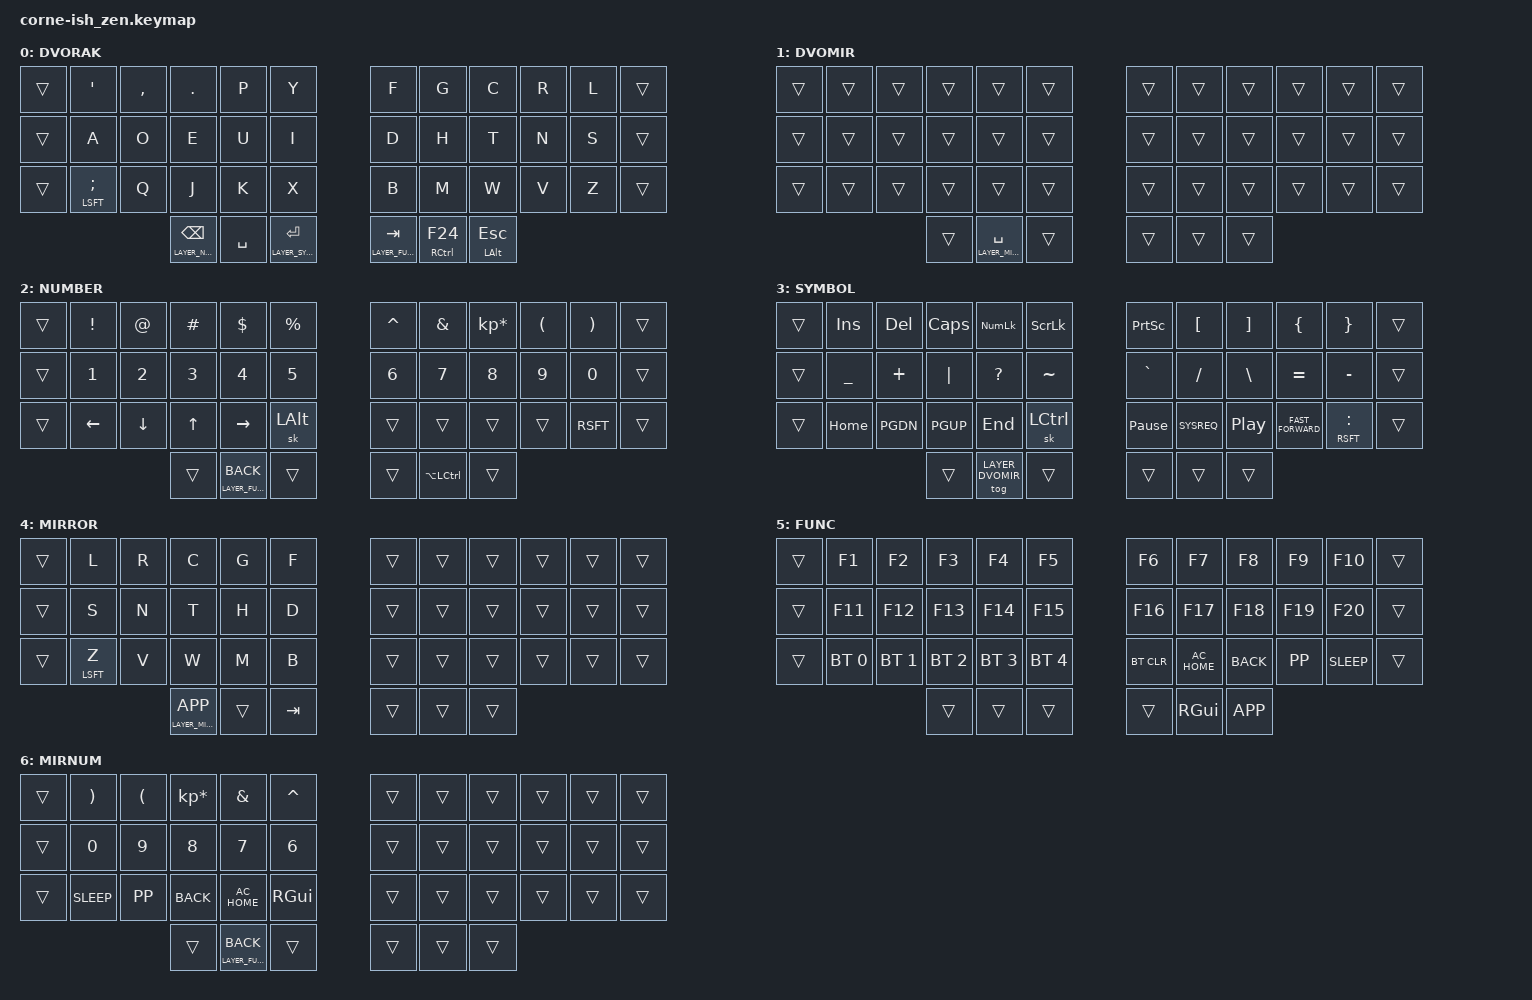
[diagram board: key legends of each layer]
/*
*
* Copyright (c) 2021 Darryl deHaan
* SPDX-License-Identifier: MIT
*
*/

#include <behaviors.dtsi>
#include <dt-bindings/zmk/keys.h>
#include <dt-bindings/zmk/bt.h>

#define LAYER_DVORAK 0
#define LAYER_DVOMIR 1
#define LAYER_NUMBER 2
#define LAYER_SYMBOL 3
#define LAYER_MIRROR 4
#define LAYER_FUNC   5
#define LAYER_MIRNUM 6


/ {
        keymap {
                compatible = "zmk,keymap";

                default_layer { // 0
                        label = "DVORAK";
bindings = <
   &trans &kp SQT       &kp COMMA &kp DOT &kp P &kp Y   &kp F &kp G  &kp C     &kp R   &kp L      &trans
   &trans &kp A         &kp O     &kp E   &kp U &kp I   &kp D &kp H  &kp T     &kp N   &kp S      &trans
   &trans &mt LSFT SEMI &kp Q     &kp J   &kp K &kp X   &kp B &kp M  &kp W     &kp V   &kp Z      &trans
   &lt LAYER_NUMBER BKSP &kp SPACE &lt LAYER_SYMBOL RET   &lt LAYER_FUNC TAB &mt RCTL F24 &mt LALT ESC
                        >;
                };
                dvomir_layer { // 1
                        label = "DVOMIR";
                        bindings = <
&trans &trans   &trans   &trans    &trans    &trans      &trans &trans   &trans   &trans    &trans    &trans 
&trans &trans   &trans   &trans    &trans    &trans      &trans &trans   &trans   &trans    &trans    &trans 
&trans &trans   &trans   &trans    &trans    &trans      &trans &trans   &trans   &trans    &trans    &trans 
                      &trans &lt LAYER_MIRROR SPACE &trans      &trans &trans &trans 
                        >;
                };

                lower_layer { // 1
                        label = "NUMBER";
                        bindings = <
   &trans  &kp EXCL &kp AT   &kp HASH &kp DLLR  &kp PRCNT   &kp CARET &kp AMPS  &kp KP_MULTIPLY &kp LPAR &kp RPAR &trans
   &trans  &kp N1   &kp N2   &kp N3   &kp N4    &kp N5      &kp N6    &kp N7    &kp N8           &kp N9  &kp N0   &trans
   &trans  &kp LEFT &kp DOWN &kp UP   &kp RIGHT &sk LALT    &trans    &trans    &trans           &trans  &kp RSFT &trans   
                          	        &trans  &lt LAYER_FUNC K_BACK &trans       &trans   &kp LA(LCTL)   &trans
                        >;
                };

                raise_layer { // 3
                        label = "SYMBOL";
                        bindings = <
   &trans &kp INS   &kp DEL   &kp CAPSLOCK   &kp KP_NUM    &kp SCROLLLOCK        &kp PRINTSCREEN      &kp LBKT &kp RBKT &kp LBRC  &kp RBRC  &trans 
   &trans &kp UNDER &kp PLUS  &kp PIPE &kp QMARK &kp TILDE     &kp GRAVE   &kp FSLH &kp BSLH &kp EQUAL &kp MINUS &trans
   &trans &kp HOME  &kp PGDN  &kp PGUP &kp END   &sk LCTL      &kp PAUSE_BREAK   &kp SYSREQ  &kp C_PLAY_PAUSE  &kp C_FAST_FORWARD   &mt RSFT COLON &trans
                    	      &trans &tog LAYER_DVOMIR &trans   &trans &trans &trans
                        >;
                };

                mirror_layer { // 4
                        label = "MIRROR";
                        bindings = <
   &trans &kp L &kp R  &kp C &kp G &kp F     &trans &trans   &trans   &trans    &trans    &trans 
   &trans &kp S &kp N  &kp T &kp H &kp D     &trans &trans   &trans   &trans    &trans    &trans 
   &trans &mt LSFT Z &kp V  &kp W &kp M &kp B     &trans &trans   &trans   &trans    &trans    &trans 
                      &lt LAYER_MIRNUM K_APP &trans &kp TAB     &trans &trans &trans 
                        >;
                };


                function_layer { // 6
                        label = "FUNC";
                        bindings = <
&trans  &kp F1       &kp F2       &kp F3       &kp F4       &kp F5          &kp F6     &kp F7        &kp F8       &kp F9  &kp F10   &trans
&trans  &kp F11      &kp F12      &kp F13      &kp F14      &kp F15         &kp F16    &kp F17       &kp F18      &kp F19 &kp F20   &trans
&trans  &bt BT_SEL 0 &bt BT_SEL 1 &bt BT_SEL 2 &bt BT_SEL 3 &bt BT_SEL 4    &bt BT_CLR &kp C_AC_HOME &kp K_BACK   &kp K_PP     &kp K_SLEEP  &trans  
                              &trans &trans &trans   &trans &kp RGUI &kp K_APP
                        >;
                };

                mirnum_layer { // 6
                        label = "MIRNUM";
                        bindings = <
   &trans  &kp RPAR &kp LPAR  &kp KP_MULTIPLY &kp AMPS &kp CARET    &trans    &trans    &trans           &trans  &trans   &trans 
   &trans  &kp N0   &kp N9   &kp N8   &kp N7    &kp N6              &trans    &trans    &trans           &trans  &trans   &trans 
   &trans  &kp K_SLEEP &kp K_PP &kp K_BACK   &kp C_AC_HOME &kp RGUI             &trans    &trans    &trans           &trans  &trans   &trans 
                          	        &trans  &lt LAYER_FUNC K_BACK &trans       &trans      &trans  &trans
                        >;
                };

        };
};
